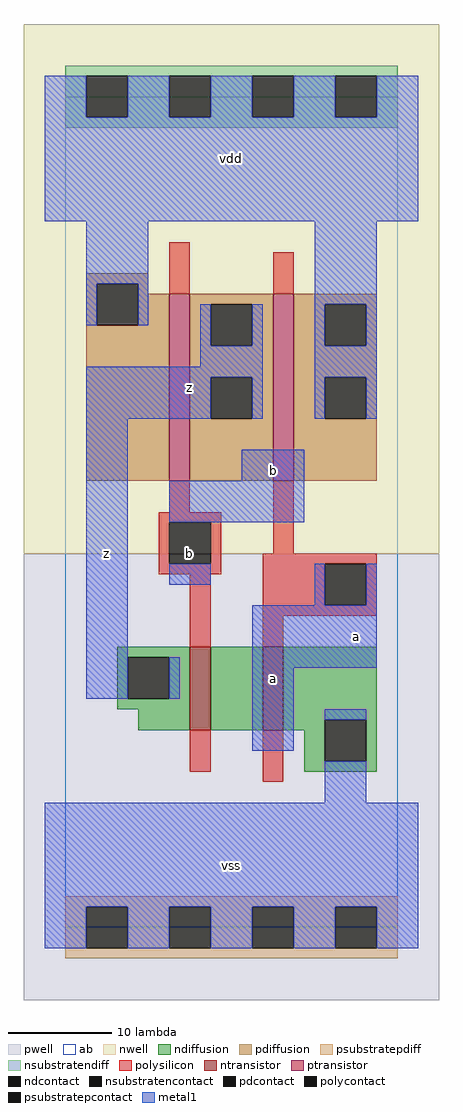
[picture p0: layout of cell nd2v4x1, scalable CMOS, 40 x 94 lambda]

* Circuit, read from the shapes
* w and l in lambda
.subckt nd2v4x1 a b vdd vss z
M1 n1 b z vss nfet w=8 l=2
M2 vss a n1 vss nfet w=8 l=2
M3 z b vdd vdd pfet w=18 l=2
M4 vdd a z vdd pfet w=18 l=2
.ends

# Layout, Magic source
magic
tech scmos
<< ab >>
rect 0 0 32 80
<< pwell >>
rect -4 -7 36 36
<< nwell >>
rect -4 36 36 87
<< polysilicon >>
rect 10 61 12 66
rect 20 61 22 65
rect 10 40 12 43
rect 9 39 15 40
rect 9 35 10 39
rect 14 35 15 39
rect 20 36 22 43
rect 9 34 15 35
rect 19 35 30 36
rect 12 27 14 34
rect 19 31 25 35
rect 29 31 30 35
rect 19 30 30 31
rect 19 27 21 30
rect 12 15 14 19
rect 19 14 21 19
<< ndiffusion >>
rect 5 26 12 27
rect 5 22 6 26
rect 10 22 12 26
rect 5 21 12 22
rect 7 19 12 21
rect 14 19 19 27
rect 21 20 30 27
rect 21 19 25 20
rect 23 16 25 19
rect 29 16 30 20
rect 23 15 30 16
<< pdiffusion >>
rect 2 62 8 63
rect 2 58 3 62
rect 7 61 8 62
rect 7 58 10 61
rect 2 43 10 58
rect 12 60 20 61
rect 12 56 14 60
rect 18 56 20 60
rect 12 53 20 56
rect 12 49 14 53
rect 18 49 20 53
rect 12 43 20 49
rect 22 60 30 61
rect 22 56 25 60
rect 29 56 30 60
rect 22 53 30 56
rect 22 49 25 53
rect 29 49 30 53
rect 22 43 30 49
<< metal1 >>
rect -2 78 2 82
rect 6 78 10 82
rect 14 78 18 82
rect 22 78 26 82
rect 30 78 34 82
rect -2 68 34 78
rect 2 62 8 68
rect 2 58 3 62
rect 7 58 8 62
rect 24 60 30 68
rect 13 56 14 60
rect 18 56 19 60
rect 13 54 19 56
rect 2 53 19 54
rect 2 49 14 53
rect 18 49 19 53
rect 24 56 25 60
rect 29 56 30 60
rect 24 53 30 56
rect 24 49 25 53
rect 29 49 30 53
rect 2 22 6 49
rect 17 43 23 46
rect 10 39 23 43
rect 10 33 14 35
rect 24 31 25 35
rect 29 31 30 35
rect 10 22 11 26
rect 18 25 30 31
rect 18 17 22 25
rect 25 20 29 21
rect 25 12 29 16
rect -2 2 34 12
rect -2 -2 2 2
rect 6 -2 10 2
rect 14 -2 18 2
rect 22 -2 26 2
rect 30 -2 34 2
<< ntransistor >>
rect 12 19 14 27
rect 19 19 21 27
<< ptransistor >>
rect 10 43 12 61
rect 20 43 22 61
<< polycontact >>
rect 10 35 14 39
rect 25 31 29 35
<< ndcontact >>
rect 6 22 10 26
rect 25 16 29 20
<< pdcontact >>
rect 3 58 7 62
rect 14 56 18 60
rect 14 49 18 53
rect 25 56 29 60
rect 25 49 29 53
<< psubstratepcontact >>
rect 2 -2 6 2
rect 10 -2 14 2
rect 18 -2 22 2
rect 26 -2 30 2
<< nsubstratencontact >>
rect 2 78 6 82
rect 10 78 14 82
rect 18 78 22 82
rect 26 78 30 82
<< psubstratepdiff >>
rect 0 2 32 3
rect 0 -2 2 2
rect 6 -2 10 2
rect 14 -2 18 2
rect 22 -2 26 2
rect 30 -2 32 2
rect 0 -3 32 -2
<< nsubstratendiff >>
rect 0 82 32 83
rect 0 78 2 82
rect 6 78 10 82
rect 14 78 18 82
rect 22 78 26 82
rect 30 78 32 82
rect 0 77 32 78
<< labels >>
rlabel metal1 4 36 4 36 6 z
rlabel polycontact 12 36 12 36 6 b
rlabel metal1 12 52 12 52 6 z
rlabel metal1 16 6 16 6 6 vss
rlabel metal1 20 24 20 24 6 a
rlabel metal1 20 44 20 44 6 b
rlabel metal1 16 74 16 74 6 vdd
rlabel metal1 28 28 28 28 6 a
<< end >>
